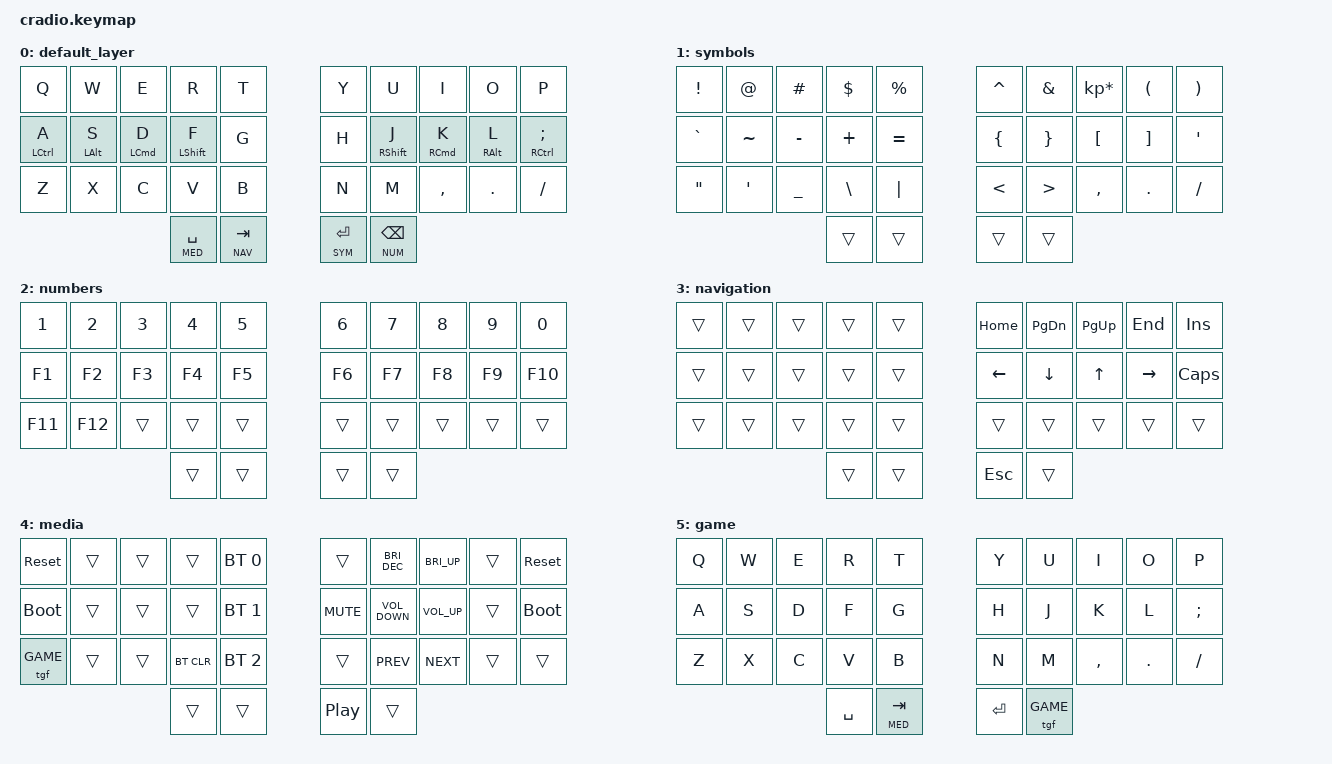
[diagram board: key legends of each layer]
// Copyright (c) 2022 The ZMK Contributors
// SPDX-License-Identifier: MIT

#include <behaviors.dtsi>
#include <dt-bindings/zmk/bt.h>
#include <dt-bindings/zmk/keys.h>

#define DEF  0
#define SYM  1
#define NUM  2
#define NAV  3
#define MED  4
#define GAME 5

/ {
    behaviors {
        hml: home_row_mod_left {
            compatible = "zmk,behavior-hold-tap";
            #binding-cells = <2>;
            flavor = "balanced";
            tapping-term-ms = <200>;
            quick-tap-ms = <175>;
            require-prior-idle-ms = <150>;
            hold-trigger-on-release;
            hold-trigger-key-positions = <5 6 7 8 9 15 16 17 18 19 25 26 27 28 29 30 31 32 33>;
            bindings = <&kp>, <&kp>;
        };

        hmr: home_row_mod_right {
            compatible = "zmk,behavior-hold-tap";
            #binding-cells = <2>;
            flavor = "balanced";
            tapping-term-ms = <200>;
            quick-tap-ms = <175>;
            require-prior-idle-ms = <150>;
            hold-trigger-on-release;
            hold-trigger-key-positions = <0 1 2 3 4 10 11 12 13 14 20 21 22 23 24 30 31 32 33>;
            bindings = <&kp>, <&kp>;
        };

        tgf: toggle_layer_flip {
            compatible = "zmk,behavior-toggle-layer";
            #binding-cells = <1>;
            toggle-mode = "flip";
        };
    };

    combos {
        compatible = "zmk,combos";

        combo_esc {
            timeout-ms = <50>;
            key-positions = <16 17>;
            layers = <DEF>;
            bindings = <&kp ESC>;
            require-prior-idle-ms = <150>;
        };

        combo_capsword {
            timeout-ms = <50>;
            key-positions = <13 16>;
            layers = <DEF>;
            bindings = <&caps_word>;
            require-prior-idle-ms = <150>;
        };
    };

    keymap {
        compatible = "zmk,keymap";

        default_layer {
            bindings = <
&kp Q            &kp W                &kp E                &kp R         &kp T        &kp Y        &kp U         &kp I                 &kp O                 &kp P
&hml LCTRL A     &hml LALT S          &hml LCMD D          &hml LSHFT F  &kp G        &kp H        &hmr RSHFT J  &hmr RCMD K           &hmr RALT L           &hmr RCTRL SEMI
&kp Z            &kp X                &kp C                &kp V         &kp B        &kp N        &kp M         &kp COMMA             &kp DOT               &kp FSLH
                                                           &lt MED SPACE   &lt NAV TAB    &lt SYM ENTER  &lt NUM BSPC
            >;
        };

        symbols {
            bindings = <
&kp EXCL    &kp AT            &kp HASH         &kp DLLR    &kp PRCNT      &kp CARET  &kp AMPS  &kp KP_ASTERISK  &kp LPAR  &kp RPAR
&kp GRAVE   &kp TILDE         &kp MINUS        &kp PLUS    &kp EQUAL      &kp LBRC   &kp RBRC  &kp LBKT         &kp RBKT  &kp SINGLE_QUOTE
&kp DQT     &kp SINGLE_QUOTE  &kp UNDERSCORE   &kp BSLH    &kp PIPE       &kp LT     &kp GT    &kp COMMA        &kp DOT   &kp FSLH
                                               &trans      &trans         &trans     &trans
            >;
        };

        numbers {
            bindings = <
&kp N1   &kp N2   &kp N3  &kp N4  &kp N5    &kp N6  &kp N7  &kp N8  &kp N9  &kp N0
&kp F1   &kp F2   &kp F3  &kp F4  &kp F5    &kp F6  &kp F7  &kp F8  &kp F9  &kp F10
&kp F11  &kp F12  &trans  &trans  &trans    &trans  &trans  &trans  &trans  &trans
                          &trans  &trans    &trans  &trans
            >;
        };

        navigation {
            bindings = <
&trans  &trans  &trans  &trans  &trans    &kp HOME  &kp PG_DN  &kp PG_UP  &kp END    &kp INS
&trans  &trans  &trans  &trans  &trans    &kp LEFT  &kp DOWN   &kp UP     &kp RIGHT  &kp CAPS
&trans  &trans  &trans  &trans  &trans    &trans    &trans     &trans     &trans     &trans
                        &trans  &trans    &kp ESC   &trans
            >;
        };

        media {
            bindings = <
&sys_reset   &trans  &trans  &trans      &bt BT_SEL 0    &trans            &kp C_BRIGHTNESS_DEC  &kp C_BRI_UP     &trans  &sys_reset
&bootloader  &trans  &trans  &trans      &bt BT_SEL 1    &kp K_MUTE        &kp C_VOLUME_DOWN     &kp C_VOLUME_UP  &trans  &bootloader
&tgf GAME    &trans  &trans  &bt BT_CLR  &bt BT_SEL 2    &trans            &kp C_PREV            &kp C_NEXT       &trans  &trans
                                         &trans          &trans            &kp C_PLAY_PAUSE      &trans
            >;
        };

        game {
            bindings = <
&kp Q  &kp W  &kp E  &kp R      &kp T        &kp Y    &kp U     &kp I      &kp O    &kp P
&kp A  &kp S  &kp D  &kp F      &kp G        &kp H    &kp J     &kp K      &kp L    &kp SEMI
&kp Z  &kp X  &kp C  &kp V      &kp B        &kp N    &kp M     &kp COMMA  &kp DOT  &kp FSLH
                     &kp SPACE  &lt MED TAB  &kp RET  &tgf GAME
            >;
        };
    };
};
